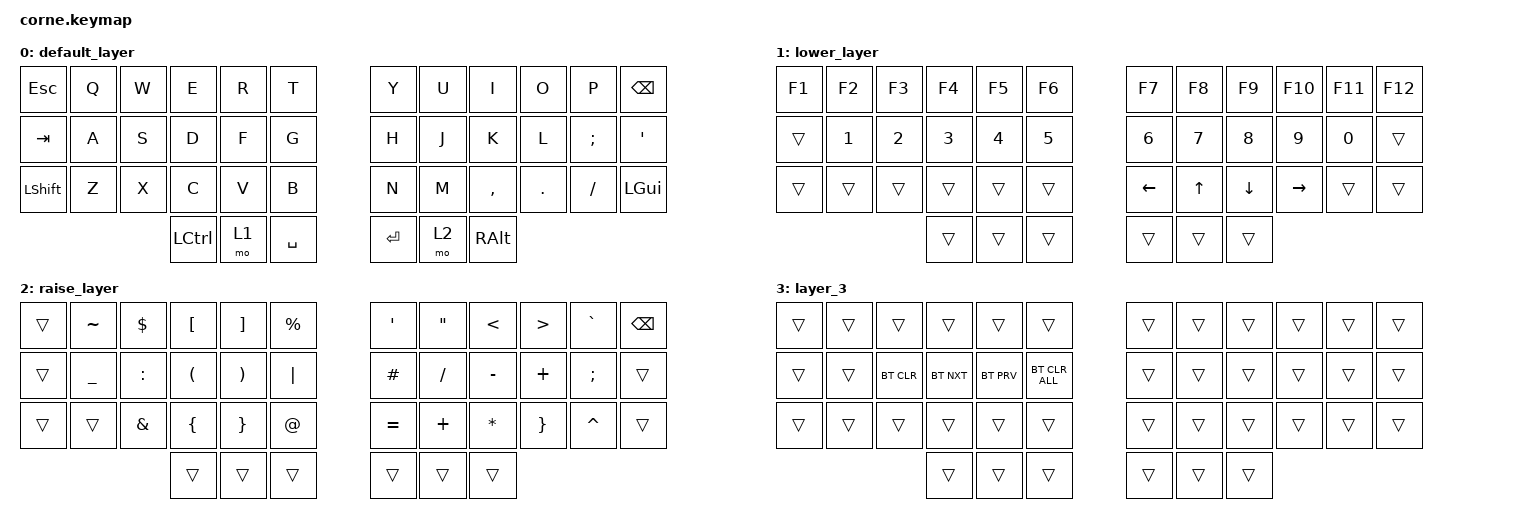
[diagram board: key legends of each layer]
/*
 * Copyright (c) 2020 The ZMK Contributors
 *
 * SPDX-License-Identifier: MIT
 */

#include <behaviors.dtsi>
#include <dt-bindings/zmk/bt.h>
#include <dt-bindings/zmk/keys.h>

/ {
    combos {
        compatible = "zmk,combos";

        BL_layer {
            bindings = <&tog 3>;
            key-positions = <37 40>;
        };
    };

    keymap {
        compatible = "zmk,keymap";

        default_layer {
            // -----------------------------------------------------------------------------------------
            // |  TAB |  Q  |  W  |  E  |  R  |  T  |   |  Y  |  U   |  I  |  O  |  P  | BSPC |
            // | CTRL |  A  |  S  |  D  |  F  |  G  |   |  H  |  J   |  K  |  L  |  ;  |  '   |
            // | SHFT |  Z  |  X  |  C  |  V  |  B  |   |  N  |  M   |  ,  |  .  |  /  | ESC  |
            //                    | GUI | LWR | SPC |   | ENT | RSE  | ALT |

            bindings = <
&kp ESC    &kp Q  &kp W  &kp E      &kp R  &kp T        &kp Y    &kp U  &kp I      &kp O    &kp P     &kp BSPC
&kp TAB    &kp A  &kp S  &kp D      &kp F  &kp G        &kp H    &kp J  &kp K      &kp L    &kp SEMI  &kp SQT
&kp LSHFT  &kp Z  &kp X  &kp C      &kp V  &kp B        &kp N    &kp M  &kp COMMA  &kp DOT  &kp FSLH  &kp LEFT_GUI
                         &kp LCTRL  &mo 1  &kp SPACE    &kp RET  &mo 2  &kp RALT
            >;
        };

        lower_layer {
            // -----------------------------------------------------------------------------------------
            // |      |     |     |     |     |     |   |     |     |     |     |     |      |
            // |      |  1  |  2  |  3  |  4  |  5  |   |  6  |  7  |  8  |  9  |  0  |      |
            // |      |     |     |     |     |     |   |     |     |     |     |     |      |
            //                    |     |     |     |   |     |     |     |

            bindings = <
&kp F1  &kp F2  &kp F3  &kp F4  &kp F5  &kp F6    &kp F7          &kp F8        &kp F9    &kp F10    &kp F11  &kp F12
&trans  &kp N1  &kp N2  &kp N3  &kp N4  &kp N5    &kp N6          &kp N7        &kp N8    &kp N9     &kp N0   &trans
&trans  &trans  &trans  &trans  &trans  &trans    &kp LEFT_ARROW  &kp UP_ARROW  &kp DOWN  &kp RIGHT  &trans   &trans
                        &trans  &trans  &trans    &trans          &trans        &trans
            >;
        };

        raise_layer {
            // -----------------------------------------------------------------------------------------
            // |  TAB |  !  |  @  |  #  |  $  |  %  |   |  ^  |  &  |  *  |  (  |  )  | BSPC |
            // | CTRL |     |     |     |     |     |   |  -  |  =  |  [  |  ]  |  \  |  `   |
            // | SHFT |     |     |     |     |     |   |  _  |  +  |  {  |  }  | "|" |  ~   |
            //                    | GUI |     | SPC |   | ENT |     | ALT |

            bindings = <
&trans  &kp TILDE  &kp DOLLAR     &kp LEFT_BRACKET  &kp RIGHT_BRACKET  &kp PRCNT      &kp SINGLE_QUOTE  &kp DOUBLE_QUOTES  &kp LESS_THAN  &kp GREATER_THAN  &kp GRAVE      &kp BSPC
&trans  &kp UNDER  &kp COLON      &kp LPAR          &kp RPAR           &kp PIPE       &kp HASH          &kp SLASH          &kp MINUS      &kp PLUS          &kp SEMICOLON  &trans
&trans  &trans     &kp AMPERSAND  &kp LEFT_BRACE    &kp RIGHT_BRACE    &kp AT_SIGN    &kp EQUAL         &kp PLUS           &kp ASTERISK   &kp RBRC          &kp CARET      &trans
                                  &trans            &trans             &trans         &trans            &trans             &trans
            >;
        };

        layer_3 {
            bindings = <
&trans  &trans  &trans      &trans      &trans      &trans            &trans  &trans  &trans  &trans  &trans  &trans
&trans  &trans  &bt BT_CLR  &bt BT_NXT  &bt BT_PRV  &bt BT_CLR_ALL    &trans  &trans  &trans  &trans  &trans  &trans
&trans  &trans  &trans      &trans      &trans      &trans            &trans  &trans  &trans  &trans  &trans  &trans
                            &trans      &trans      &trans            &trans  &trans  &trans
            >;
        };
    };
};
